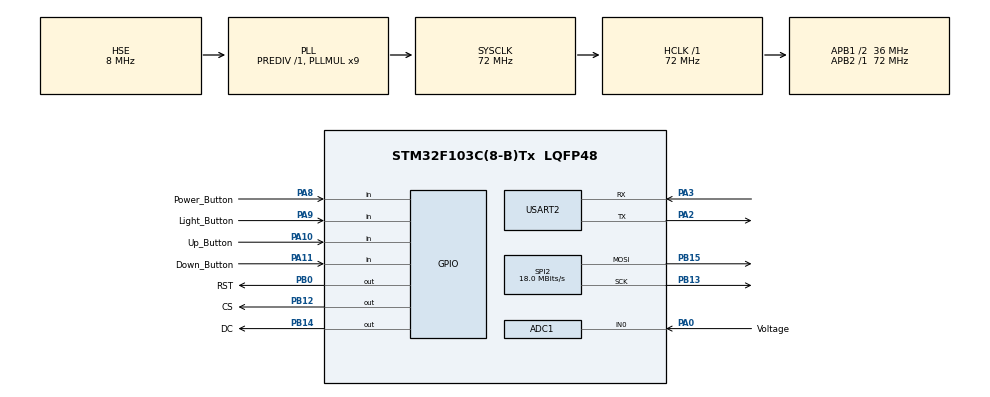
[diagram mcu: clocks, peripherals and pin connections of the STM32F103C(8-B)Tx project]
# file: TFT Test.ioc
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ADC1.Channel-0\#ChannelRegularConversion=ADC_CHANNEL_0
ADC1.NbrOfConversionFlag=1
ADC1.Rank-0\#ChannelRegularConversion=1
ADC1.SamplingTime-0\#ChannelRegularConversion=ADC_SAMPLETIME_1CYCLE_5
ADC1.master=1
Mcu.Family=STM32F1
Mcu.Name=STM32F103C(8-B)Tx
Mcu.Package=LQFP48
NVIC.PriorityGroup=NVIC_PRIORITYGROUP_4
NVIC.TIM1_UP_IRQn=true\:0\:0\:false\:false\:true\:true\:true
PA0-WKUP.GPIO_Label=Voltage
PA0-WKUP.Signal=ADCx_IN0
PA10.GPIO_Label=Up_Button
PA10.GPIO_PuPd=GPIO_PULLUP
PA10.Signal=GPIO_Input
PA11.GPIO_Label=Down_Button
PA11.GPIO_PuPd=GPIO_PULLUP
PA11.Signal=GPIO_Input
PA13.Mode=Serial_Wire
PA13.Signal=SYS_JTMS-SWDIO
PA14.Mode=Serial_Wire
PA14.Signal=SYS_JTCK-SWCLK
PA2.Mode=Asynchronous
PA2.Signal=USART2_TX
PA3.Mode=Asynchronous
PA3.Signal=USART2_RX
PA8.GPIO_Label=Power_Button
PA8.GPIO_PuPd=GPIO_PULLUP
PA8.Signal=GPIO_Input
PA9.GPIO_Label=Light_Button
PA9.GPIO_PuPd=GPIO_PULLUP
PA9.Signal=GPIO_Input
PB0.GPIO_Label=RST
PB0.Signal=GPIO_Output
PB12.GPIO_Label=CS
PB12.Signal=GPIO_Output
PB13.Mode=TX_Only_Simplex_Unidirect_Master
PB13.Signal=SPI2_SCK
PB14.GPIO_Label=DC
PB14.Signal=GPIO_Output
PB15.Mode=TX_Only_Simplex_Unidirect_Master
PB15.Signal=SPI2_MOSI
PC14-OSC32_IN.Mode=LSE-External-Oscillator
PC14-OSC32_IN.Signal=RCC_OSC32_IN
PC15-OSC32_OUT.Mode=LSE-External-Oscillator
PC15-OSC32_OUT.Signal=RCC_OSC32_OUT
PD0-OSC_IN.Mode=HSE-External-Oscillator
PD0-OSC_IN.Signal=RCC_OSC_IN
PD1-OSC_OUT.Mode=HSE-External-Oscillator
PD1-OSC_OUT.Signal=RCC_OSC_OUT
ProjectManager.HeapSize=0x200
ProjectManager.StackSize=0x400
ProjectManager.TargetToolchain=STM32CubeIDE
RCC.ADCPresc=RCC_ADCPCLK2_DIV6
RCC.AHBFreq_Value=72000000
RCC.APB1CLKDivider=RCC_HCLK_DIV2
RCC.APB1Freq_Value=36000000
RCC.APB1TimFreq_Value=72000000
RCC.APB2Freq_Value=72000000
RCC.APB2TimFreq_Value=72000000
RCC.HCLKFreq_Value=72000000
RCC.PLLMUL=RCC_PLL_MUL9
RCC.PLLSourceVirtual=RCC_PLLSOURCE_HSE
RCC.RTCClockSelection=RCC_RTCCLKSOURCE_LSE
RCC.SYSCLKFreq_VALUE=72000000
RCC.SYSCLKSource=RCC_SYSCLKSOURCE_PLLCLK
RCC.USBFreq_Value=72000000
SH.ADCx_IN0.0=ADC1_IN0,IN0
SPI2.BaudRatePrescaler=SPI_BAUDRATEPRESCALER_2
SPI2.CalculateBaudRate=18.0 MBits/s
SPI2.Direction=SPI_DIRECTION_2LINES
SPI2.Mode=SPI_MODE_MASTER
SPI2.VirtualType=VM_MASTER
TIM1.Period=3000
TIM1.Prescaler=24
USART2.VirtualMode=VM_ASYNC
VP_RTC_VS_RTC_Activate.Mode=RTC_Enabled
VP_RTC_VS_RTC_Calendar.Mode=RTC_Calendar
VP_TIM1_VS_ClockSourceINT.Mode=Internal
board=custom

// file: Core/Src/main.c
/* USER CODE BEGIN Header */
/**
  ******************************************************************************
  * @file           : main.c
  * @brief          : Main program body
  ******************************************************************************
  * @attention
  *
  * <h2><center>&copy; Copyright (c) 2021 STMicroelectronics.
  * All rights reserved.</center></h2>
  *
  * This software component is licensed by ST under BSD 3-Clause license,
  * the "License"; You may not use this file except in compliance with the
  * License. You may obtain a copy of the License at:
  *                        opensource.org/licenses/BSD-3-Clause
  *
  ******************************************************************************
  */
/* USER CODE END Header */
#include "main.h"
#include "adc.h"
#include "rtc.h"
#include "spi.h"
#include "tim.h"
#include "usart.h"
#include "gpio.h"

/* USER CODE BEGIN Includes */
#include "ILI9341_STM32_Driver.h"
#include "ILI9341_GFX.h"
#include "buttons.h"
#include <stdio.h>

/* USER CODE END Includes */

/* USER CODE BEGIN PV */
RTC_TimeTypeDef sTime = {0};
RTC_DateTypeDef DateToUpdate = {0};
uint16_t adc = 0;
uint16_t j = 255;
uint16_t i;
uint16_t percent = 0;
uint16_t tempPercent;
uint16_t tempClock;
uint16_t timer1_counter;
static button_state_t button_state_old = 0;
uint16_t batsympos[2]= {190,5};
char trans_str[64] = {0,};
char Temp_Buffer_text[40];
/* USER CODE END PV */

void SystemClock_Config(void);
/* USER CODE BEGIN PFP */
int16_t map (int16_t x, int16_t in_min, int16_t in_max, int16_t out_min, int16_t out_max);
void clock();
void checkBattery();
/* USER CODE END PFP */

int main(void)
{

  /* MCU Configuration--------------------------------------------------------*/

  /* Reset of all peripherals, Initializes the Flash interface and the Systick. */
  HAL_Init();

  /* Configure the system clock */
  SystemClock_Config();

  /* Initialize all configured peripherals */
  MX_GPIO_Init();
  MX_SPI2_Init();
  MX_ADC1_Init();
  MX_RTC_Init();
  MX_TIM1_Init();
  MX_USART2_UART_Init();
  /* USER CODE BEGIN 2 */
  ILI9341_Init();//initial driver setup to drive ili9341
  ILI9341_Fill_Screen(BLACK);
  ILI9341_Set_Rotation(SCREEN_VERTICAL_1);
  ILI9341_DrawText("EBiCS Display", FONT3, 10, 25, WHITE, BLACK); //DrawText uses Fonts from fonts.h / fonts.c
  ILI9341_DrawBigNumber("456", BIGFONT,10, 50, WHITE, BLACK);
  ILI9341_DrawICON(48, FONT5, 10, 250, WHITE, BLACK);

  //ILI9341_DrawText("123", BIGFONT, 10, 40, WHITE, BLACK);
  //ILI9341_Draw_Text("Size 1 Test", 10, 55, WHITE, 1, BLACK); //Draw_Text uses 5x5_font.h
 // ILI9341_Draw_Text("Size 2 Test", 10, 70, WHITE, 2, BLACK);

  // Start Timer 1
     if(HAL_TIM_Base_Start_IT(&htim1) != HAL_OK)
       {
         /* Counter Enable Error */
         Error_Handler();
       }

  /* USER CODE END 2 */

  /* Infinite loop */
  while (1)
  {

    /* USER CODE BEGIN 3 */
	if(timer1_counter){
	  clock();
	  checkBattery();
	  timer1_counter=0;
	}

    switch(button_processing())
    {
        case ShortPressUp:
    		if(button_state_old!=ShortPressUp)ILI9341_DrawText("ShortPressUp      ", FONT3, 10, 150, WHITE, BLACK);
    		button_state_old=ShortPressUp;
            break;
        case LongPressUp:
    		if(button_state_old!=LongPressUp)ILI9341_DrawText("LongPressUp      ", FONT3, 10, 150, WHITE, BLACK);
    		button_state_old=LongPressUp;
            break;
        case ShortPressDown:
    		if(button_state_old!=ShortPressDown)ILI9341_DrawText("ShortPressDown", FONT3, 10, 150, WHITE, BLACK);
    		button_state_old=ShortPressDown;
            break;
        case LongPressDown:
    		if(button_state_old!=LongPressDown)ILI9341_DrawText("LongPressDown", FONT3, 10, 150, WHITE, BLACK);
    		button_state_old=LongPressDown;
            break;
        case ShortUpAndDown:
    		if(button_state_old!=ShortUpAndDown)ILI9341_DrawText("ShortUpAndDown             ", FONT3, 10, 150, WHITE, BLACK);
    		button_state_old=ShortUpAndDown;
    		break;
        case LongUpAndDown:
    		if(button_state_old!=LongUpAndDown)ILI9341_DrawText("LongUpAndDown             ", FONT3, 10, 150, WHITE, BLACK);
    		button_state_old=LongUpAndDown;
    		break;
        case Nothing:
    		if(button_state_old!=Nothing)ILI9341_DrawText("Nothing             ", FONT3, 10, 150, WHITE, BLACK);
    		button_state_old=Nothing;
    		break;
        default:
        	if(button_state_old!=Unknown)ILI9341_DrawText("Unknown combination             ", FONT3, 10, 150, WHITE, BLACK);
        	button_state_old=Unknown;
            break;
    }

}

  /* USER CODE END 3 */
}

void SystemClock_Config(void)
{
  RCC_OscInitTypeDef RCC_OscInitStruct = {0};
  RCC_ClkInitTypeDef RCC_ClkInitStruct = {0};
  RCC_PeriphCLKInitTypeDef PeriphClkInit = {0};

  /** Initializes the RCC Oscillators according to the specified parameters
  * in the RCC_OscInitTypeDef structure.
  */
  RCC_OscInitStruct.OscillatorType = RCC_OSCILLATORTYPE_HSE|RCC_OSCILLATORTYPE_LSE;
  RCC_OscInitStruct.HSEState = RCC_HSE_ON;
  RCC_OscInitStruct.HSEPredivValue = RCC_HSE_PREDIV_DIV1;
  RCC_OscInitStruct.LSEState = RCC_LSE_ON;
  RCC_OscInitStruct.HSIState = RCC_HSI_ON;
  RCC_OscInitStruct.PLL.PLLState = RCC_PLL_ON;
  RCC_OscInitStruct.PLL.PLLSource = RCC_PLLSOURCE_HSE;
  RCC_OscInitStruct.PLL.PLLMUL = RCC_PLL_MUL9;
  if (HAL_RCC_OscConfig(&RCC_OscInitStruct) != HAL_OK)
  {
    Error_Handler();
  }
  /** Initializes the CPU, AHB and APB buses clocks
  */
  RCC_ClkInitStruct.ClockType = RCC_CLOCKTYPE_HCLK|RCC_CLOCKTYPE_SYSCLK
                              |RCC_CLOCKTYPE_PCLK1|RCC_CLOCKTYPE_PCLK2;
  RCC_ClkInitStruct.SYSCLKSource = RCC_SYSCLKSOURCE_PLLCLK;
  RCC_ClkInitStruct.AHBCLKDivider = RCC_SYSCLK_DIV1;
  RCC_ClkInitStruct.APB1CLKDivider = RCC_HCLK_DIV2;
  RCC_ClkInitStruct.APB2CLKDivider = RCC_HCLK_DIV1;

  if (HAL_RCC_ClockConfig(&RCC_ClkInitStruct, FLASH_LATENCY_2) != HAL_OK)
  {
    Error_Handler();
  }
  PeriphClkInit.PeriphClockSelection = RCC_PERIPHCLK_RTC|RCC_PERIPHCLK_ADC;
  PeriphClkInit.RTCClockSelection = RCC_RTCCLKSOURCE_LSE;
  PeriphClkInit.AdcClockSelection = RCC_ADCPCLK2_DIV6;
  if (HAL_RCCEx_PeriphCLKConfig(&PeriphClkInit) != HAL_OK)
  {
    Error_Handler();
  }
}

/* USER CODE BEGIN 4 */
int16_t map (int16_t x, int16_t in_min, int16_t in_max, int16_t out_min, int16_t out_max)
{
  // if input is smaller/bigger than expected return the min/max out ranges value
  if (x < in_min)
    return out_min;
  else if (x > in_max)
    return out_max;

  // map the input to the output range.
  // round up if mapping bigger ranges to smaller ranges
  else  if ((in_max - in_min) > (out_max - out_min))
    return (x - in_min) * (out_max - out_min + 1) / (in_max - in_min + 1) + out_min;
  // round down if mapping smaller ranges to bigger ranges
  else
    return (x - in_min) * (out_max - out_min) / (in_max - in_min) + out_min;
}

void checkBattery()
{
	HAL_ADC_Start(&hadc1); // запу�?каем преобразование �?игнала �?ЦП
	          HAL_ADC_PollForConversion(&hadc1, 100); // ожидаем окончани�? преобразовани�?
	          adc = HAL_ADC_GetValue(&hadc1); // читаем полученное значение в переменную adc
	          //HAL_ADC_Stop(&hadc1); // о�?танавливаем �?ЦП
	          j = map(adc, 0, 4096, batsympos[0]+4, batsympos[0]+38); //(adc, 0, 4096, 256, 290);
	          percent = map(adc, 0, 4096, 0, 100);
	         if(j<=273 && j>=260){i=ORANGE;};
	         if(j>273){i= GREEN;}
	         if(j<260){i= RED;}
	snprintf(trans_str, 63, "%d\n", percent);
	ILI9341_Draw_Hollow_Rectangle_Coord(batsympos[0], batsympos[1], batsympos[0]+39, batsympos[1]+14, WHITE);  //(252, 4, 291, 18, WHITE);
			ILI9341_Draw_Hollow_Rectangle_Coord(batsympos[0]+1, batsympos[1]+1, batsympos[0]+38, batsympos[1]+13, WHITE); //(253, 5, 290, 17, WHITE);
			ILI9341_Draw_Filled_Rectangle_Coord(batsympos[0]+40, batsympos[1]+4, batsympos[0]+43, batsympos[1]+11, WHITE); //(292, 8, 295, 15, WHITE);
	if(tempPercent!=percent){
		ILI9341_Draw_Filled_Rectangle_Coord(batsympos[0]+2, batsympos[1]+2, batsympos[0]+38, batsympos[1]+13, i);//(254, 6, 290, 17, i);
		ILI9341_Draw_Filled_Rectangle_Coord(j, batsympos[1]+13, batsympos[0]+38, batsympos[1]+2, BLACK);//(j, 17, 290, 6, BLACK);
		tempPercent=percent;
		ILI9341_DrawText(trans_str, FONT3, batsympos[0]-35, batsympos[1], WHITE, BLACK);
		ILI9341_DrawText("%", FONT3, batsympos[0]-20,  batsympos[1], WHITE, BLACK);
	}
}
void clock()
{
	 HAL_RTC_GetTime(&hrtc, &sTime, RTC_FORMAT_BIN); // RTC_FORMAT_BIN , RTC_FORMAT_BCD
	 if(sTime.Minutes<10){
		 snprintf(trans_str, 62, "%d:0%d:%d\n", sTime.Hours, sTime.Minutes, sTime.Seconds);
	 }
	 if(sTime.Seconds<10){
		 snprintf(trans_str, 62, "%d:%d:0%d\n", sTime.Hours, sTime.Minutes, sTime.Seconds);
		 }

	 if(sTime.Hours<10){
		 snprintf(trans_str, 62, "0%d:%d:%d\n", sTime.Hours, sTime.Minutes, sTime.Seconds);
			 }

	 if((sTime.Hours<10)&&(sTime.Minutes<10)){
	 		 snprintf(trans_str, 62, "0%d:0%d:%d\n", sTime.Hours, sTime.Minutes, sTime.Seconds);
	 			 }
		         //snprintf(trans_str, 62, "%d:%d:%d\n", sTime.Hours, sTime.Minutes, sTime.Seconds);
		         //ILI9341_DrawText(trans_str, 10, 10, WHITE, 2, BLACK);
		         if(tempClock!=sTime.Seconds){
		        	 tempClock=sTime.Seconds;
		        	 ILI9341_DrawText(trans_str, FONT4, 0, 0, WHITE, BLACK);}
		         else {

		         }
		        //  HAL_RTC_GetDate(&hrtc, &DateToUpdate, RTC_FORMAT_BIN);
		       //  snprintf(trans_str, 63, "Date %d-%d-20%d\n", DateToUpdate.Date, DateToUpdate.Month, DateToUpdate.Year);
		       //  ILI9341_Draw_Text(trans_str, 10, 30, WHITE, 2, BLACK);
		         //HAL_Delay(1000);
}

void HAL_TIM_PeriodElapsedCallback(TIM_HandleTypeDef *htim)
{
	if (htim == &htim1) {
		timer1_counter++;
		//ILI9341_DrawBigNumber("1", BIGFONT,10, 150, WHITE, BLACK);
	}
}
/* USER CODE END 4 */

void Error_Handler(void)
{
  __disable_irq();
  while (1)
  {
  }
}

/************************ (C) COPYRIGHT STMicroelectronics *****END OF FILE****/
